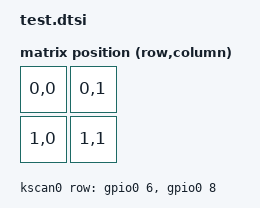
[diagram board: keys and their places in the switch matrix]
/*
* Copyright (c) 2020 Pete Johanson
*
* SPDX-License-Identifier: MIT
*/

#include <dt-bindings/zmk/matrix_transform.h>

/ {
    chosen {
        zmk,kscan = &kscan0;
        zmk,physical-layout = &physical_layout0;
    };

    default_transform: matrix_transform {
        compatible = "zmk,matrix-transform";
        columns = <2>;
        rows = <2>;
    map = <
        RC(0,0) RC(0,1)
        RC(1,0) RC(1,1)
        >;
    };

    physical_layout0: physical_layout_0 { // First physical layout, use different naming for other layouts
        compatible = "zmk,physical-layout";
        display-name = "Default Layout";
        kscan = <&kscan0>; // Label of the kscan node, optional if all layouts use the same
        transform = <&default_transform>; // Label of the matrix transform for this layout
    };

    kscan0: kscan {
        compatible = "zmk,kscan-gpio-matrix";
        label = "KSCAN";

        diode-direction = "col2row";
        row-gpios
            = <&gpio0 6 (GPIO_ACTIVE_HIGH | GPIO_PULL_DOWN)>     //Row0
            , <&gpio0 8 (GPIO_ACTIVE_HIGH | GPIO_PULL_DOWN)>     //Row1
            ;
    };

};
